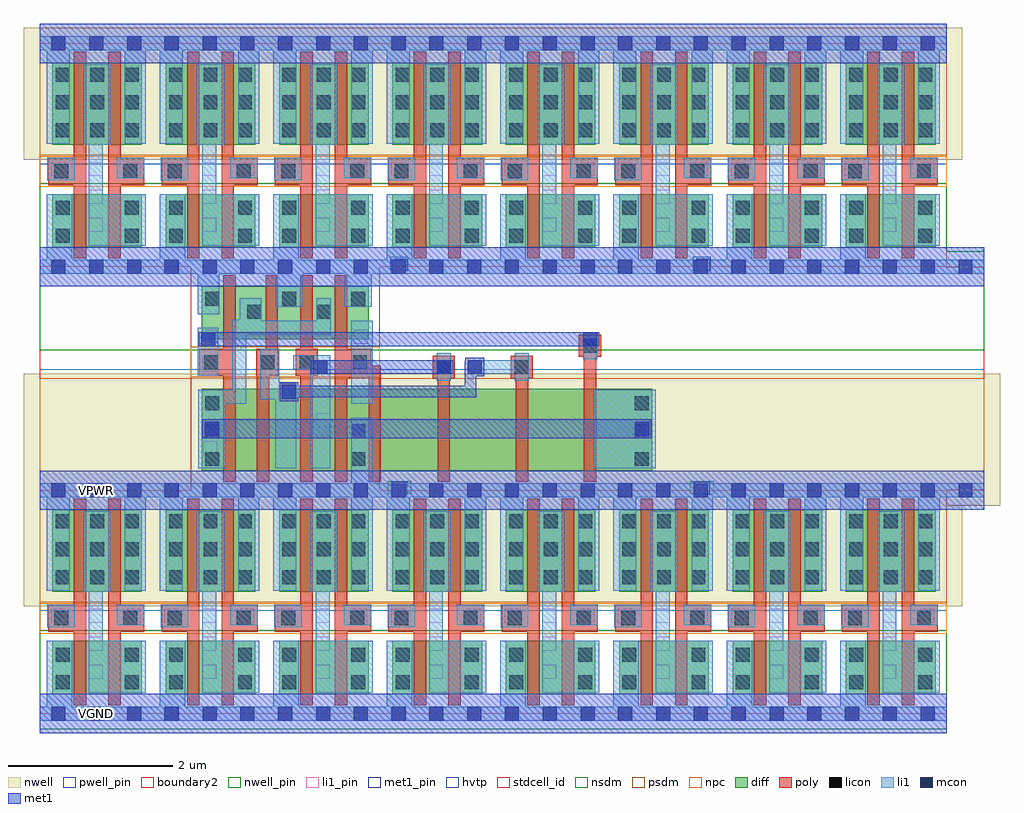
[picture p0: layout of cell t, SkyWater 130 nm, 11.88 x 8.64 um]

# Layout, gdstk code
import gdstk
lib = gdstk.Library(unit=1e-6, precision=1e-09)
def R(c, l, rs):  # rectangles x0, y0, x1, y1
    for r in rs: c.add(gdstk.rectangle(r[:2], r[2:], *l))
def A(c, l, x, y, w, h, nx, ny, dx, dy):  # array of equal rectangles
    R(c, l, [(x+i*dx, y+j*dy, x+i*dx+w, y+j*dy+h) for i in range(nx) for j in range(ny)])
nwell_pin = (64, 16)
nwell = (64, 20)
diff = (65, 20)
poly = (66, 20)
licon = (66, 44)
li1_pin = (67, 16)
li1 = (67, 20)
mcon = (67, 44)
met1_pin = (68, 16)
met1 = (68, 20)
hvtp = (78, 44)
stdcell_id = (81, 4)
nsdm = (93, 44)
psdm = (94, 20)
npc = (95, 20)
pwell_pin = (122, 16)
boundary2 = (236, 0)

c_t = lib.new_cell('t')
A(c_t, nwell_pin, 2.9, 2.635, 0.17, 0.17, 6, 1, 1.38, 0)
A(c_t, nwell_pin, 0.14, 8.075, 0.17, 0.17, 8, 1, 1.38, 0)
R(c_t, nwell_pin, [(0.14,2.635,0.31,2.805), (1.52,2.635,1.69,2.805), (1.985,2.635,2.155,2.805), (0.175,2.66,0.3,2.79), (4.24,2.675,4.525,2.83), (7.92,2.675,8.205,2.83)])
A(c_t, nwell, -0.19, 1.305, 1.76, 1.605, 8, 2, 1.38, 5.44)
R(c_t, nwell, [(-0.19,2.53,2.03,4.135), (1.65,2.53,7.635,4.135), (3.95,2.53,8.01,4.135), (7.63,2.53,11.69,4.135)])
A(c_t, diff, 0.155, 0.235, 1.09, 0.65, 8, 2, 1.38, 5.44)
A(c_t, diff, 0.155, 1.485, 1.09, 1, 8, 2, 1.38, 5.44)
R(c_t, diff, [(1.975,2.955,7.455,3.955), (1.975,4.555,4.005,5.205)])
A(c_t, poly, 3.175, 0.105, 0.15, 2.51, 1, 3, 0, 2.72)
A(c_t, poly, 3.595, 0.105, 0.15, 2.51, 1, 3, 0, 2.72)
A(c_t, poly, 0.105, 0.995, 0.31, 0.33, 8, 2, 1.38, 5.44)
A(c_t, poly, 0.985, 0.995, 0.29, 0.33, 8, 2, 1.38, 5.44)
R(c_t, poly, [(0.415,0.105,0.565,2.615), (0.835,0.105,0.985,2.615), (1.795,0.105,1.945,2.615), (2.215,0.105,2.365,2.615), (4.555,0.105,4.705,2.615), (4.975,0.105,5.125,2.615), (5.935,0.105,6.085,2.615), (6.355,0.105,6.505,2.615), (7.315,0.105,7.465,2.615), (7.735,0.105,7.885,2.615), (8.695,0.105,8.845,2.615), (9.115,0.105,9.265,2.615), (10.075,0.105,10.225,2.615), (10.495,0.105,10.645,2.615), (2.235,2.825,2.385,5.335), (2.645,2.825,2.75,4.445), (2.75,2.825,2.795,5.335), (4.005,2.825,4.155,4.235), (4.845,2.825,4.995,4.085), (5.795,2.825,5.945,4.085), (6.625,2.825,6.775,4.085), (3.595,4.085,4.155,4.235), (4.785,4.085,5.055,4.355), (5.735,4.085,6.005,4.355), (6.625,4.085,6.775,4.345), (1.945,4.115,2.235,4.445), (2.635,4.115,2.645,4.445), (2.795,4.115,2.9,5.335), (2.9,4.115,2.905,4.445), (3.115,4.115,3.175,4.445), (3.325,4.115,3.385,4.445), (3.745,4.115,4.035,4.445), (6.565,4.345,6.835,4.615), (0.415,5.545,0.565,8.055), (0.835,5.545,0.985,8.055), (1.795,5.545,1.945,8.055), (2.215,5.545,2.365,8.055), (4.555,5.545,4.705,8.055), (4.975,5.545,5.125,8.055), (5.935,5.545,6.085,8.055), (6.355,5.545,6.505,8.055), (7.315,5.545,7.465,8.055), (7.735,5.545,7.885,8.055), (8.695,5.545,8.845,8.055), (9.115,5.545,9.265,8.055), (10.075,5.545,10.225,8.055), (10.495,5.545,10.645,8.055)])
A(c_t, licon, 0.195, 1.575, 0.17, 0.17, 3, 3, 0.42, 0.34)
A(c_t, licon, 1.575, 1.575, 0.17, 0.17, 3, 3, 0.42, 0.34)
A(c_t, licon, 2.955, 1.575, 0.17, 0.17, 3, 3, 0.42, 0.34)
A(c_t, licon, 4.335, 1.575, 0.17, 0.17, 3, 3, 0.42, 0.34)
A(c_t, licon, 5.715, 1.575, 0.17, 0.17, 3, 3, 0.42, 0.34)
A(c_t, licon, 7.095, 1.575, 0.17, 0.17, 3, 3, 0.42, 0.34)
A(c_t, licon, 8.475, 1.575, 0.17, 0.17, 3, 3, 0.42, 0.34)
A(c_t, licon, 9.855, 1.575, 0.17, 0.17, 3, 3, 0.42, 0.34)
A(c_t, licon, 2.015, 3.015, 0.17, 0.17, 1, 3, 0, 0.34)
A(c_t, licon, 7.245, 3.015, 0.17, 0.17, 1, 3, 0, 0.34)
A(c_t, licon, 0.195, 7.015, 0.17, 0.17, 3, 3, 0.42, 0.34)
A(c_t, licon, 1.575, 7.015, 0.17, 0.17, 3, 3, 0.42, 0.34)
A(c_t, licon, 2.955, 7.015, 0.17, 0.17, 3, 3, 0.42, 0.34)
A(c_t, licon, 4.335, 7.015, 0.17, 0.17, 3, 3, 0.42, 0.34)
A(c_t, licon, 5.715, 7.015, 0.17, 0.17, 3, 3, 0.42, 0.34)
A(c_t, licon, 7.095, 7.015, 0.17, 0.17, 3, 3, 0.42, 0.34)
A(c_t, licon, 8.475, 7.015, 0.17, 0.17, 3, 3, 0.42, 0.34)
A(c_t, licon, 9.855, 7.015, 0.17, 0.17, 3, 3, 0.42, 0.34)
R(c_t, licon, [(0.195,0.295,0.365,0.465), (1.035,0.295,1.205,0.465), (1.575,0.295,1.745,0.465), (2.415,0.295,2.585,0.465), (2.955,0.295,3.125,0.465), (3.795,0.295,3.965,0.465), (4.335,0.295,4.505,0.465), (5.175,0.295,5.345,0.465), (5.715,0.295,5.885,0.465), (6.555,0.295,6.725,0.465), (7.095,0.295,7.265,0.465), (7.935,0.295,8.105,0.465), (8.475,0.295,8.645,0.465), (9.315,0.295,9.485,0.465), (9.855,0.295,10.025,0.465), (10.695,0.295,10.865,0.465), (0.195,0.635,0.365,0.805), (1.035,0.635,1.205,0.805), (1.575,0.635,1.745,0.805), (2.415,0.635,2.585,0.805), (2.955,0.635,3.125,0.805), (3.795,0.635,3.965,0.805), (4.335,0.635,4.505,0.805), (5.175,0.635,5.345,0.805), (5.715,0.635,5.885,0.805), (6.555,0.635,6.725,0.805), (7.095,0.635,7.265,0.805), (7.935,0.635,8.105,0.805), (8.475,0.635,8.645,0.805), (9.315,0.635,9.485,0.805), (9.855,0.635,10.025,0.805), (10.695,0.635,10.865,0.805), (0.18,1.075,0.35,1.245), (1.02,1.075,1.19,1.245), (1.56,1.075,1.73,1.245), (2.4,1.075,2.57,1.245), (2.94,1.075,3.11,1.245), (3.78,1.075,3.95,1.245), (4.32,1.075,4.49,1.245), (5.16,1.075,5.33,1.245), (5.7,1.075,5.87,1.245), (6.54,1.075,6.71,1.245), (7.08,1.075,7.25,1.245), (7.92,1.075,8.09,1.245), (8.46,1.075,8.63,1.245), (9.3,1.075,9.47,1.245), (9.84,1.075,10.01,1.245), (10.68,1.075,10.85,1.245), (3.795,3.015,3.965,3.185), (3.795,3.355,3.965,3.525), (4.835,4.135,5.005,4.305), (5.785,4.135,5.955,4.305), (2.005,4.195,2.175,4.365), (2.685,4.195,2.855,4.365), (3.165,4.195,3.335,4.365), (3.815,4.195,3.985,4.365), (6.615,4.395,6.785,4.565), (2.53,4.805,2.7,4.975), (3.375,4.805,3.545,4.975), (2.015,4.965,2.185,5.135), (2.955,4.965,3.125,5.135), (3.795,4.965,3.965,5.135), (0.195,5.735,0.365,5.905), (1.035,5.735,1.205,5.905), (1.575,5.735,1.745,5.905), (2.415,5.735,2.585,5.905), (2.955,5.735,3.125,5.905), (3.795,5.735,3.965,5.905), (4.335,5.735,4.505,5.905), (5.175,5.735,5.345,5.905), (5.715,5.735,5.885,5.905), (6.555,5.735,6.725,5.905), (7.095,5.735,7.265,5.905), (7.935,5.735,8.105,5.905), (8.475,5.735,8.645,5.905), (9.315,5.735,9.485,5.905), (9.855,5.735,10.025,5.905), (10.695,5.735,10.865,5.905), (0.195,6.075,0.365,6.245), (1.035,6.075,1.205,6.245), (1.575,6.075,1.745,6.245), (2.415,6.075,2.585,6.245), (2.955,6.075,3.125,6.245), (3.795,6.075,3.965,6.245), (4.335,6.075,4.505,6.245), (5.175,6.075,5.345,6.245), (5.715,6.075,5.885,6.245), (6.555,6.075,6.725,6.245), (7.095,6.075,7.265,6.245), (7.935,6.075,8.105,6.245), (8.475,6.075,8.645,6.245), (9.315,6.075,9.485,6.245), (9.855,6.075,10.025,6.245), (10.695,6.075,10.865,6.245), (0.18,6.515,0.35,6.685), (1.02,6.515,1.19,6.685), (1.56,6.515,1.73,6.685), (2.4,6.515,2.57,6.685), (2.94,6.515,3.11,6.685), (3.78,6.515,3.95,6.685), (4.32,6.515,4.49,6.685), (5.16,6.515,5.33,6.685), (5.7,6.515,5.87,6.685), (6.54,6.515,6.71,6.685), (7.08,6.515,7.25,6.685), (7.92,6.515,8.09,6.685), (8.46,6.515,8.63,6.685), (9.3,6.515,9.47,6.685), (9.84,6.515,10.01,6.685), (10.68,6.515,10.85,6.685)])
A(c_t, li1_pin, 0.6, 0.425, 0.17, 0.17, 8, 2, 1.38, 0.34)
A(c_t, li1_pin, 0.14, 1.105, 0.17, 0.17, 24, 2, 0.46, 5.44)
A(c_t, li1_pin, 0.6, 5.865, 0.17, 0.17, 8, 2, 1.38, 0.34)
R(c_t, li1_pin, [(1.99,3.145,2.16,3.315), (3.365,3.485,3.535,3.655), (2.905,3.825,3.075,3.995), (1.98,4.165,2.15,4.335), (1.985,4.505,2.155,4.675), (3.825,4.505,3.995,4.675)])
A(c_t, li1, 0, -0.085, 0.085, 0.17, 8, 1, 1.38, 0)
A(c_t, li1, 0.085, -0.085, 0.31, 0.97, 8, 2, 1.38, 5.44)
A(c_t, li1, 0.395, -0.085, 0.985, 0.17, 8, 2, 1.38, 5.44)
A(c_t, li1, 0.6, 0.255, 0.17, 2.21, 8, 2, 1.38, 5.44)
A(c_t, li1, 0.77, 0.255, 0.095, 0.63, 8, 2, 1.38, 5.44)
A(c_t, li1, 0.865, 0.255, 0.43, 0.63, 8, 2, 1.38, 5.44)
A(c_t, li1, 0.095, 1.055, 0.335, 0.27, 8, 2, 1.38, 5.44)
A(c_t, li1, 0.94, 1.075, 0.335, 0.25, 8, 2, 1.38, 5.44)
A(c_t, li1, 0.535, 1.485, 0.065, 0.98, 8, 2, 1.38, 5.44)
A(c_t, li1, 0.77, 1.485, 0.095, 0.98, 8, 2, 1.38, 5.44)
A(c_t, li1, 0.085, 1.495, 0.28, 1.31, 8, 2, 1.38, 5.44)
A(c_t, li1, 1.035, 1.495, 0.26, 1.31, 8, 2, 1.38, 5.44)
A(c_t, li1, 0, 2.635, 0.085, 0.17, 1, 3, 0, 2.72)
A(c_t, li1, 0.365, 2.635, 0.67, 0.17, 8, 2, 1.38, 5.44)
A(c_t, li1, 1.38, 2.635, 0.085, 0.17, 1, 3, 0, 2.72)
A(c_t, li1, 2.76, 5.355, 0.085, 0.17, 6, 1, 1.38, 0)
R(c_t, li1, [(0,2.635,1.84,2.805), (1.295,2.635,1.38,2.805), (1.84,2.635,3.795,2.805), (2.675,2.635,2.76,2.805), (2.76,2.635,2.845,2.805), (3.795,2.635,4.055,3.605), (4.055,2.635,4.14,2.805), (4.055,2.635,4.14,2.805), (4.14,2.635,4.225,2.805), (4.14,2.635,7.82,2.805), (5.435,2.635,5.52,2.805), (5.52,2.635,5.605,2.805), (6.815,2.635,6.9,2.805), (6.9,2.635,6.985,2.805), (7.82,2.635,11.5,2.805), (8.195,2.635,8.28,2.805), (8.28,2.635,8.365,2.805), (9.575,2.635,9.66,2.805), (9.66,2.635,9.745,2.805), (10.955,2.635,11.04,2.805), (1.93,2.99,2.265,3.945), (2.87,2.99,2.915,4.445), (2.915,2.99,3.125,4.025), (3.295,2.99,3.535,4.365), (6.745,2.99,7.5,3.945), (2.265,3.775,2.345,3.945), (2.345,3.775,2.435,4.795), (2.435,3.775,2.515,5.055), (3.795,3.775,4.055,4.785), (2.685,3.825,2.87,4.445), (2.95,3.835,3.12,4.005), (2.95,3.835,3.12,4.005), (4.835,4.055,5.005,4.385), (5.785,4.055,5.955,4.385), (1.925,4.115,2.175,4.695), (5.21,4.135,5.95,4.305), (5.21,4.135,5.38,4.305), (3.085,4.195,3.295,4.365), (6.615,4.315,6.785,4.645), (2.515,4.615,2.7,5.055), (2.7,4.615,3.375,4.785), (3.375,4.615,3.545,5.055), (1.925,4.865,2.185,5.525), (2.875,4.955,3.205,5.525), (3.715,4.955,4.045,5.525), (0,5.355,1.84,5.525), (1.84,5.355,1.925,5.525), (2.185,5.355,2.875,5.525), (3.205,5.355,3.715,5.525), (4.045,5.355,4.14,5.525), (4.14,5.355,7.82,5.525), (7.82,5.355,11.5,5.525), (1.295,8.075,1.38,8.245), (2.675,8.075,2.76,8.245), (2.76,8.075,2.845,8.245), (4.055,8.075,4.14,8.245), (4.14,8.075,4.225,8.245), (5.435,8.075,5.52,8.245), (5.52,8.075,5.605,8.245), (6.815,8.075,6.9,8.245), (6.9,8.075,6.985,8.245), (8.195,8.075,8.28,8.245), (8.28,8.075,8.365,8.245), (9.575,8.075,9.66,8.245), (9.66,8.075,9.745,8.245), (10.955,8.075,11.04,8.245)])
A(c_t, mcon, 0.145, -0.085, 0.17, 0.17, 24, 2, 0.46, 8.16)
R(c_t, mcon, [(0.145,2.635,0.315,2.805), (0.145,2.635,0.315,2.805), (0.605,2.635,0.775,2.805), (0.605,2.635,0.775,2.805), (1.065,2.635,1.235,2.805), (1.065,2.635,1.235,2.805), (1.525,2.635,1.695,2.805), (1.525,2.635,1.695,2.805), (1.985,2.635,2.155,2.805), (1.985,2.635,2.155,2.805), (2.445,2.635,2.615,2.805), (2.445,2.635,2.615,2.805), (2.905,2.635,3.075,2.805), (2.905,2.635,3.075,2.805), (3.365,2.635,3.535,2.805), (3.365,2.635,3.535,2.805), (3.825,2.635,3.995,2.805), (3.825,2.635,3.995,2.805), (4.285,2.635,4.455,2.805), (4.285,2.635,4.455,2.805), (4.745,2.635,4.915,2.805), (4.745,2.635,4.915,2.805), (5.205,2.635,5.375,2.805), (5.205,2.635,5.375,2.805), (5.665,2.635,5.835,2.805), (5.665,2.635,5.835,2.805), (6.125,2.635,6.295,2.805), (6.125,2.635,6.295,2.805), (6.585,2.635,6.755,2.805), (6.585,2.635,6.755,2.805), (7.045,2.635,7.215,2.805), (7.045,2.635,7.215,2.805), (7.505,2.635,7.675,2.805), (7.505,2.635,7.675,2.805), (7.965,2.635,8.135,2.805), (7.965,2.635,8.135,2.805), (8.425,2.635,8.595,2.805), (8.425,2.635,8.595,2.805), (8.885,2.635,9.055,2.805), (8.885,2.635,9.055,2.805), (9.345,2.635,9.515,2.805), (9.345,2.635,9.515,2.805), (9.805,2.635,9.975,2.805), (9.805,2.635,9.975,2.805), (10.265,2.635,10.435,2.805), (10.265,2.635,10.435,2.805), (10.725,2.635,10.895,2.805), (10.725,2.635,10.895,2.805), (11.185,2.635,11.355,2.805), (2.012,3.382,2.182,3.552), (7.248,3.382,7.418,3.552), (2.95,3.835,3.12,4.005), (3.33,4.135,3.5,4.305), (4.835,4.135,5.005,4.305), (5.21,4.135,5.38,4.305), (1.965,4.475,2.135,4.645), (6.615,4.475,6.785,4.645), (0.145,5.355,0.315,5.525), (0.145,5.355,0.315,5.525), (0.605,5.355,0.775,5.525), (0.605,5.355,0.775,5.525), (1.065,5.355,1.235,5.525), (1.065,5.355,1.235,5.525), (1.525,5.355,1.695,5.525), (1.525,5.355,1.695,5.525), (1.985,5.355,2.155,5.525), (1.985,5.355,2.155,5.525), (2.445,5.355,2.615,5.525), (2.445,5.355,2.615,5.525), (2.905,5.355,3.075,5.525), (2.905,5.355,3.075,5.525), (3.365,5.355,3.535,5.525), (3.365,5.355,3.535,5.525), (3.825,5.355,3.995,5.525), (3.825,5.355,3.995,5.525), (4.285,5.355,4.455,5.525), (4.285,5.355,4.455,5.525), (4.745,5.355,4.915,5.525), (4.745,5.355,4.915,5.525), (5.205,5.355,5.375,5.525), (5.205,5.355,5.375,5.525), (5.665,5.355,5.835,5.525), (5.665,5.355,5.835,5.525), (6.125,5.355,6.295,5.525), (6.125,5.355,6.295,5.525), (6.585,5.355,6.755,5.525), (6.585,5.355,6.755,5.525), (7.045,5.355,7.215,5.525), (7.045,5.355,7.215,5.525), (7.505,5.355,7.675,5.525), (7.505,5.355,7.675,5.525), (7.965,5.355,8.135,5.525), (7.965,5.355,8.135,5.525), (8.425,5.355,8.595,5.525), (8.425,5.355,8.595,5.525), (8.885,5.355,9.055,5.525), (8.885,5.355,9.055,5.525), (9.345,5.355,9.515,5.525), (9.345,5.355,9.515,5.525), (9.805,5.355,9.975,5.525), (9.805,5.355,9.975,5.525), (10.265,5.355,10.435,5.525), (10.265,5.355,10.435,5.525), (10.725,5.355,10.895,5.525), (10.725,5.355,10.895,5.525), (11.185,5.355,11.355,5.525)])
A(c_t, met1_pin, 0.14, -0.085, 0.17, 0.17, 8, 2, 1.38, 8.16)
A(c_t, met1_pin, 2.9, 2.635, 0.17, 0.17, 6, 2, 1.38, 2.72)
R(c_t, met1_pin, [(0.14,2.635,0.31,2.805), (1.52,2.635,1.69,2.805), (1.985,2.635,2.155,2.805), (4.285,2.665,4.475,2.825), (7.965,2.665,8.155,2.825), (0.17,2.68,0.27,2.765), (0.14,5.355,0.31,5.525), (1.52,5.355,1.69,5.525), (1.985,5.355,2.155,5.525), (4.315,5.39,4.475,5.54), (7.995,5.39,8.155,5.54), (0.17,5.395,0.285,5.49)])
A(c_t, met1, 0, -0.24, 1.38, 0.48, 8, 4, 1.38, 2.72)
R(c_t, met1, [(0,2.48,1.84,2.96), (1.84,2.48,4.14,2.96), (4.14,2.48,7.82,2.96), (7.82,2.48,11.5,2.96), (1.982,3.352,7.448,3.582), (2.92,3.805,3.15,4.035), (2.965,3.85,5.315,3.99), (5.175,3.85,5.315,4.29), (5.18,4.105,5.41,4.335), (3.3,4.135,5.035,4.305), (5.175,4.15,5.365,4.29), (1.935,4.475,6.815,4.645), (0,5.2,1.84,5.68), (1.84,5.2,4.14,5.68), (4.14,5.2,7.82,5.68), (7.82,5.2,11.5,5.68)])
A(c_t, hvtp, 0, 1.25, 1.38, 1.47, 8, 2, 1.38, 5.44)
R(c_t, hvtp, [(0,2.72,1.84,4.19), (1.84,2.72,4.14,4.19), (4.14,2.72,7.82,4.19), (7.82,2.72,11.5,4.19)])
A(c_t, stdcell_id, 0, 0, 1.38, 2.72, 8, 2, 1.38, 5.44)
R(c_t, stdcell_id, [(0,2.72,1.84,5.44), (1.84,2.72,4.14,5.44), (4.14,2.72,7.82,5.44), (7.82,2.72,11.5,5.44)])
A(c_t, nsdm, 0, -0.19, 1.38, 1.205, 8, 2, 1.38, 5.44)
R(c_t, nsdm, [(0,4.425,1.84,5.63), (1.84,4.425,4.14,5.63), (4.14,4.425,7.82,5.63), (7.82,4.425,11.5,5.63)])
A(c_t, psdm, 0, 1.355, 1.38, 1.555, 8, 2, 1.38, 5.44)
R(c_t, psdm, [(0,2.53,1.84,4.085), (1.84,2.53,7.58,4.085), (4.14,2.53,7.82,4.085), (7.82,2.53,11.5,4.085)])
A(c_t, npc, 0, 0.975, 1.38, 0.37, 8, 2, 1.38, 5.44)
R(c_t, npc, [(1.84,4.095,4.14,4.465)])
A(c_t, pwell_pin, 0.14, -0.085, 0.17, 0.17, 8, 1, 1.38, 0)
A(c_t, pwell_pin, 2.9, 5.355, 0.17, 0.17, 6, 1, 1.38, 0)
R(c_t, pwell_pin, [(0.14,5.355,0.31,5.525), (1.52,5.355,1.69,5.525), (1.985,5.355,2.155,5.525), (0.175,5.38,0.285,5.5), (4.27,5.39,4.49,5.56), (7.95,5.39,8.17,5.56)])
A(c_t, boundary2, 0, 0, 1.38, 2.72, 8, 2, 1.38, 5.44)
R(c_t, boundary2, [(1.84,2.72,4.14,5.44)])
c_t.add(gdstk.Label('VPWR', (0.69,2.72), layer=67, texttype=20))
c_t.add(gdstk.Label('VGND', (0.69,0), layer=67, texttype=20))

lib.write_gds('t.gds')
